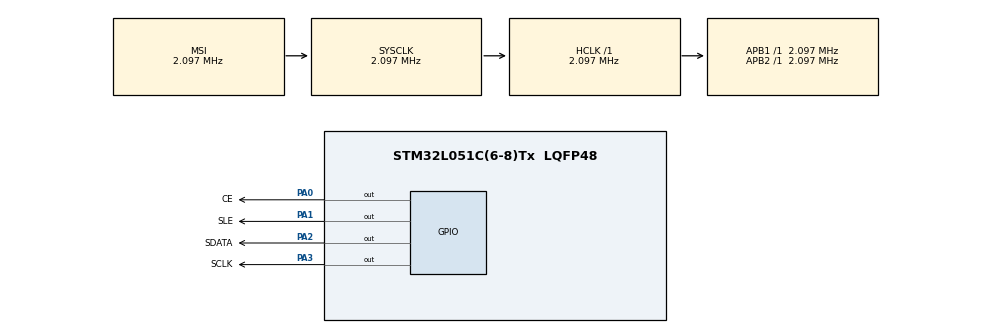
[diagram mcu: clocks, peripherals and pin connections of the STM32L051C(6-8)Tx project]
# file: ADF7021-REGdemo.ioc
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Mcu.Family=STM32L0
Mcu.Name=STM32L051C(6-8)Tx
Mcu.Package=LQFP48
PA0.GPIO_Label=CE
PA0.Signal=GPIO_Output
PA1.GPIO_Label=SLE
PA1.PinState=GPIO_PIN_RESET
PA1.Signal=GPIO_Output
PA2.GPIO_Label=SDATA
PA2.Signal=GPIO_Output
PA3.GPIO_Label=SCLK
PA3.Signal=GPIO_Output
ProjectManager.HeapSize=0x200
ProjectManager.StackSize=0x400
ProjectManager.TargetToolchain=STM32CubeIDE
RCC.AHBFreq_Value=2097000
RCC.APB1Freq_Value=2097000
RCC.APB1TimFreq_Value=2097000
RCC.APB2Freq_Value=2097000
RCC.APB2TimFreq_Value=2097000
RCC.HSE_VALUE=8000000
RCC.HSI16_VALUE=16000000
RCC.HSI_VALUE=16000000
RCC.LSE_VALUE=32768
RCC.MSI_VALUE=2097000
RCC.SYSCLKFreq_VALUE=2097000
RCC.VCOOutputFreq_Value=48000000
board=custom

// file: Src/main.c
/* USER CODE BEGIN Header */
/**
  ******************************************************************************
  * @file           : main.c
  * @brief          : Main program body
  ******************************************************************************
  * @attention
  *
  * Copyright (c) 2023 STMicroelectronics.
  * All rights reserved.
  *
  * This software is licensed under terms that can be found in the LICENSE file
  * in the root directory of this software component.
  * If no LICENSE file comes with this software, it is provided AS-IS.
  *
  ******************************************************************************
  */
/* USER CODE END Header */
#include "main.h"

/* USER CODE BEGIN PV */
const unsigned long int regs[16]={
        0x12B999A0,
        0x574021,
        0x3FF082,
        0x2B140523,
        0x80493814,
        0x03155,
        0x5099306,
        0x007,
        0x0008,
        0xA31E9,
        0x3296346A,
        0x0003B,
        0x0010C,
        0x0000D,
        0x0000000E,
        0x0000000F
}; //p.s.十六进制数的最后一位是寄存器号，0-15共16个
/* USER CODE END PV */

void SystemClock_Config(void);

static void MX_GPIO_Init(void);

int main(void) {

    /* MCU Configuration--------------------------------------------------------*/

    /* Reset of all peripherals, Initializes the Flash interface and the Systick. */
    HAL_Init();

    /* Configure the system clock */
    SystemClock_Config();

    /* Initialize all configured peripherals */
    MX_GPIO_Init();
    /* USER CODE BEGIN 2 */
    HAL_GPIO_WritePin(GPIOA, CE_Pin, GPIO_PIN_SET);
    HAL_Delay(2);
    Reg_Write(regs[4]);
    Reg_Write(regs[5]);
    Reg_Write(regs[6]);
//    Reg_Write(regs[7]);
//    Reg_Write(regs[8]);
    Reg_Write(regs[9]);
    Reg_Write(regs[10]);
    Reg_Write(regs[11]);
    Reg_Write(regs[12]);
    Reg_Write(regs[13]);
//    Reg_Write(regs[14]);
//    Reg_Write(regs[15]);

    Reg_Write(regs[1]); //reg1
    HAL_Delay(1);
    Reg_Write(regs[3]); //reg3
    HAL_Delay(1);
    Reg_Write(regs[0]); //reg0
    HAL_Delay(1);
    Reg_Write(regs[2]); //reg2
    HAL_Delay(10);
    /* USER CODE END 2 */

    /* Infinite loop */
    while (1) {

    }
}

void SystemClock_Config(void) {
    RCC_OscInitTypeDef RCC_OscInitStruct = {0};
    RCC_ClkInitTypeDef RCC_ClkInitStruct = {0};

    /** Configure the main internal regulator output voltage
    */
    __HAL_PWR_VOLTAGESCALING_CONFIG(PWR_REGULATOR_VOLTAGE_SCALE1);

    /** Initializes the RCC Oscillators according to the specified parameters
    * in the RCC_OscInitTypeDef structure.
    */
    RCC_OscInitStruct.OscillatorType = RCC_OSCILLATORTYPE_MSI;
    RCC_OscInitStruct.MSIState = RCC_MSI_ON;
    RCC_OscInitStruct.MSICalibrationValue = 0;
    RCC_OscInitStruct.MSIClockRange = RCC_MSIRANGE_5;
    RCC_OscInitStruct.PLL.PLLState = RCC_PLL_NONE;
    if (HAL_RCC_OscConfig(&RCC_OscInitStruct) != HAL_OK) {
        Error_Handler();
    }

    /** Initializes the CPU, AHB and APB buses clocks
    */
    RCC_ClkInitStruct.ClockType = RCC_CLOCKTYPE_HCLK | RCC_CLOCKTYPE_SYSCLK
                                  | RCC_CLOCKTYPE_PCLK1 | RCC_CLOCKTYPE_PCLK2;
    RCC_ClkInitStruct.SYSCLKSource = RCC_SYSCLKSOURCE_MSI;
    RCC_ClkInitStruct.AHBCLKDivider = RCC_SYSCLK_DIV1;
    RCC_ClkInitStruct.APB1CLKDivider = RCC_HCLK_DIV1;
    RCC_ClkInitStruct.APB2CLKDivider = RCC_HCLK_DIV1;

    if (HAL_RCC_ClockConfig(&RCC_ClkInitStruct, FLASH_LATENCY_0) != HAL_OK) {
        Error_Handler();
    }
}

static void MX_GPIO_Init(void) {
    GPIO_InitTypeDef GPIO_InitStruct = {0};

    /* GPIO Ports Clock Enable */
    __HAL_RCC_GPIOA_CLK_ENABLE();

    /*Configure GPIO pin Output Level */
    HAL_GPIO_WritePin(GPIOA, CE_Pin | SLE_Pin | SDATA_Pin | SCLK_Pin, GPIO_PIN_RESET);

    /*Configure GPIO pins : CE_Pin SLE_Pin SDATA_Pin SCLK_Pin */
    GPIO_InitStruct.Pin = CE_Pin | SLE_Pin | SDATA_Pin | SCLK_Pin;
    GPIO_InitStruct.Mode = GPIO_MODE_OUTPUT_PP;
    GPIO_InitStruct.Pull = GPIO_NOPULL;
    GPIO_InitStruct.Speed = GPIO_SPEED_FREQ_LOW;
    HAL_GPIO_Init(GPIOA, &GPIO_InitStruct);

}

/* USER CODE BEGIN 4 */
void Reg_Write(unsigned long int data)
{
    unsigned int i;
    for(i=0; i<32; i++)
    {
        if(data & 0x80000000) //data最高位
        {
            HAL_GPIO_WritePin(GPIOA, SDATA_Pin, GPIO_PIN_SET);
        }
        else
        {
            HAL_GPIO_WritePin(GPIOA, SDATA_Pin, GPIO_PIN_RESET);
        }
        HAL_Delay(1);
        HAL_GPIO_WritePin(GPIOA, SCLK_Pin, GPIO_PIN_SET);
        HAL_Delay(1);
        HAL_GPIO_WritePin(GPIOA, SCLK_Pin, GPIO_PIN_RESET);
    }
    HAL_Delay(1);
    HAL_GPIO_WritePin(GPIOA, SLE_Pin, GPIO_PIN_SET);
    HAL_Delay(1);
    HAL_GPIO_WritePin(GPIOA, SLE_Pin, GPIO_PIN_RESET);
}
/* USER CODE END 4 */

void Error_Handler(void) {
    __disable_irq();
    while (1) {
    }
}
